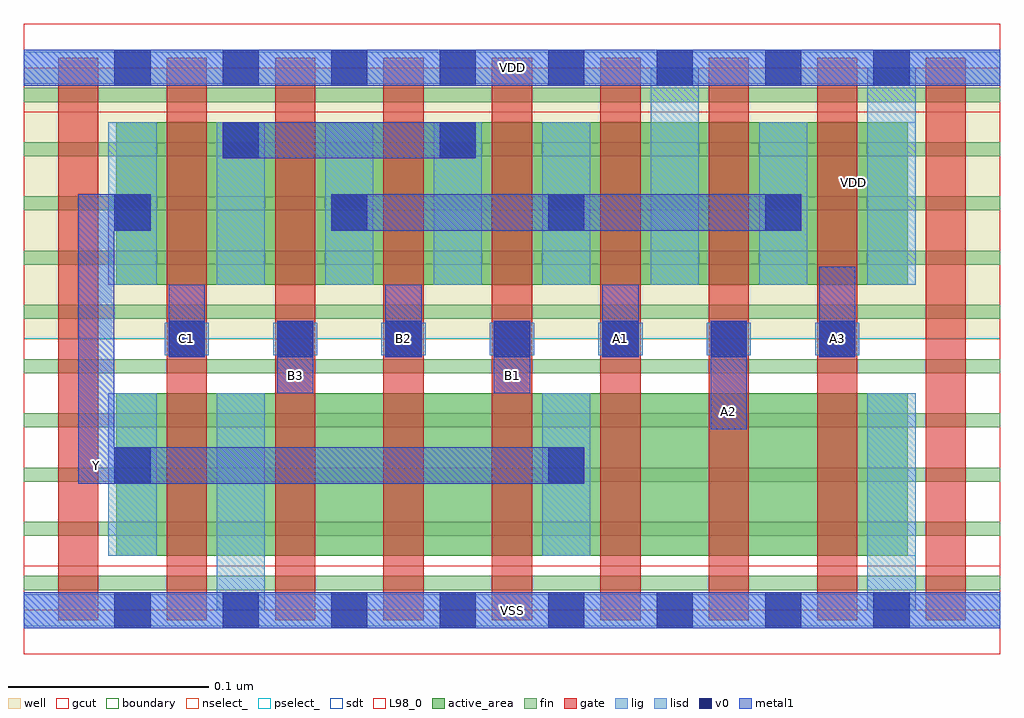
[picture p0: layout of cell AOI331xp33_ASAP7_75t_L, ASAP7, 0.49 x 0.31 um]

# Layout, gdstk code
import gdstk
lib = gdstk.Library(unit=1e-6, precision=2.5e-10)
def R(c, l, rs):  # rectangles x0, y0, x1, y1
    for r in rs: c.add(gdstk.rectangle(r[:2], r[2:], *l))
def A(c, l, x, y, w, h, nx, ny, dx, dy):  # array of equal rectangles
    R(c, l, [(x+i*dx, y+j*dy, x+i*dx+w, y+j*dy+h) for i in range(nx) for j in range(ny)])
def P(c, l, *ps):  # polygons
    for p in ps: c.add(gdstk.Polygon(p, *l))
well = (1, 0)
fin = (2, 0)
gate = (7, 0)
gcut = (10, 0)
active_area = (11, 0)
nselect_ = (12, 0)
pselect_ = (13, 0)
lig = (16, 0)
lisd = (17, 0)
v0 = (18, 0)
metal1 = (19, 0)
sdt = (88, 0)
L98_0 = (98, 0)
boundary = (100, 0)

aoi331xp33_asap7_75t_l = lib.new_cell('AOI331xp33_ASAP7_75t_L')
R(aoi331xp33_asap7_75t_l, well, [(0,0.135,0.486,0.27)])
A(aoi331xp33_asap7_75t_l, fin, 0, 0.01, 0.486, 0.007, 1, 10, 0, 0.027)
A(aoi331xp33_asap7_75t_l, gate, 0.017, -0.005, 0.02, 0.28, 9, 1, 0.054, 0)
R(aoi331xp33_asap7_75t_l, gcut, [(0,-0.022,0.486,0.022), (0,0.248,0.486,0.292)])
R(aoi331xp33_asap7_75t_l, active_area, [(0.046,0.027,0.44,0.108), (0.046,0.162,0.44,0.243)])
R(aoi331xp33_asap7_75t_l, nselect_, [(0,0,0.486,0.135)])
R(aoi331xp33_asap7_75t_l, pselect_, [(0,0.135,0.486,0.27)])
A(aoi331xp33_asap7_75t_l, lig, 0.07, 0.127, 0.022, 0.016, 7, 1, 0.054, 0)
R(aoi331xp33_asap7_75t_l, lig, [(0,-0.008,0.486,0.008), (0,0.262,0.486,0.278)])
A(aoi331xp33_asap7_75t_l, lisd, 0.042, 0.162, 0.024, 0.081, 5, 1, 0.054, 0)
R(aoi331xp33_asap7_75t_l, lisd, [(0.096,0,0.12,0.108), (0.42,0,0.444,0.108), (0.042,0.027,0.066,0.108), (0.258,0.027,0.282,0.108), (0.312,0.162,0.336,0.27), (0.366,0.162,0.39,0.243), (0.42,0.162,0.444,0.27)])
A(aoi331xp33_asap7_75t_l, v0, 0.045, -0.009, 0.018, 0.018, 8, 2, 0.054, 0.27)
A(aoi331xp33_asap7_75t_l, v0, 0.072, 0.126, 0.018, 0.018, 7, 1, 0.054, 0)
A(aoi331xp33_asap7_75t_l, v0, 0.045, 0.189, 0.018, 0.018, 4, 1, 0.108, 0)
R(aoi331xp33_asap7_75t_l, v0, [(0.045,0.063,0.063,0.081), (0.261,0.063,0.279,0.081), (0.099,0.225,0.117,0.243), (0.207,0.225,0.225,0.243)])
A(aoi331xp33_asap7_75t_l, metal1, 0.072, 0.126, 0.018, 0.036, 3, 1, 0.108, 0)
R(aoi331xp33_asap7_75t_l, metal1, [(0,-0.009,0.486,0.009), (0.342,0.09,0.36,0.144), (0.126,0.108,0.144,0.144), (0.234,0.108,0.252,0.144), (0.396,0.126,0.414,0.171), (0.153,0.189,0.387,0.207), (0.099,0.225,0.225,0.243), (0,0.261,0.486,0.279)])
P(aoi331xp33_asap7_75t_l, metal1, [(0.279,0.081),(0.045,0.081),(0.045,0.189),(0.063,0.189),(0.063,0.207),(0.027,0.207),(0.027,0.063),(0.279,0.063)])
A(aoi331xp33_asap7_75t_l, sdt, 0.096, 0.027, 0.024, 0.081, 3, 1, 0.162, 0)
A(aoi331xp33_asap7_75t_l, sdt, 0.042, 0.162, 0.024, 0.081, 8, 1, 0.054, 0)
R(aoi331xp33_asap7_75t_l, sdt, [(0.042,0.027,0.066,0.108)])
R(aoi331xp33_asap7_75t_l, L98_0, [(0,0,0.486,0.27)])
R(aoi331xp33_asap7_75t_l, boundary, [(0,0,0.486,0.27)])
aoi331xp33_asap7_75t_l.add(gdstk.Label('A2', (0.351,0.099), layer=19, texttype=251))
aoi331xp33_asap7_75t_l.add(gdstk.Label('A3', (0.405,0.135), layer=19, texttype=251))
aoi331xp33_asap7_75t_l.add(gdstk.Label('A1', (0.297,0.135), layer=19, texttype=251))
aoi331xp33_asap7_75t_l.add(gdstk.Label('Y', (0.036,0.072), layer=19, texttype=251))
aoi331xp33_asap7_75t_l.add(gdstk.Label('B1', (0.243,0.117), layer=19, texttype=251))
aoi331xp33_asap7_75t_l.add(gdstk.Label('B2', (0.189,0.135), layer=19, texttype=251))
aoi331xp33_asap7_75t_l.add(gdstk.Label('C1', (0.081,0.135), layer=19, texttype=251))
aoi331xp33_asap7_75t_l.add(gdstk.Label('B3', (0.135,0.117), layer=19, texttype=251))
aoi331xp33_asap7_75t_l.add(gdstk.Label('VSS', (0.243,0), layer=19, texttype=251))
aoi331xp33_asap7_75t_l.add(gdstk.Label('VDD', (0.243,0.27), layer=19, texttype=251))
aoi331xp33_asap7_75t_l.add(gdstk.Label('VDD', (0.413,0.213), layer=1, texttype=251))
aoi331xp33_asap7_75t_l.add(gdstk.Label('VSS', (0.559,0.213), layer=3, texttype=251))

lib.write_gds('AOI331xp33_ASAP7_75t_L.gds')
